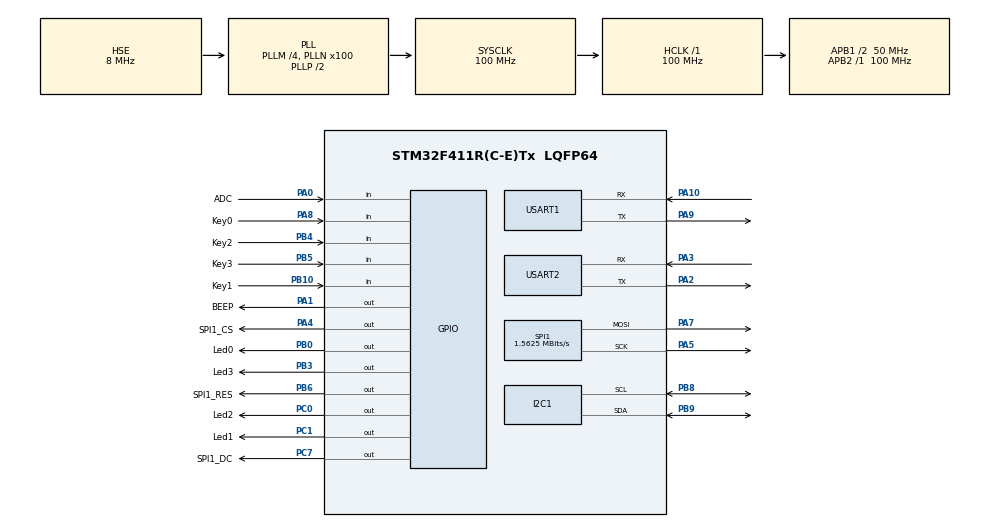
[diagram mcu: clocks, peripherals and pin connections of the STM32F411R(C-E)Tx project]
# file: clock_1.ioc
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FREERTOS.Queues01=KeyQueue,16,KeyMessage_t,0,Dynamic,NULL,NULL
FREERTOS.Tasks01=defaultTask,8,128,StartDefaultTask,Default,NULL,Dynamic,NULL,NULL;OledTask,24,512,StartOledTask,As external,NULL,Dynamic,NULL,NULL;ButtonTask,40,128,StartButtonTask,As external,NULL,Dynamic,NULL,NULL;TempTask,16,128,StartTempTask,As external,NULL,Dynamic,NULL,NULL;LogicTask,32,128,StartLogicTask,As external,NULL,Dynamic,NULL,NULL;WifiTask,24,512,StartWifiTask,As external,NULL,Dynamic,NULL,NULL
FREERTOS.Timers01=BuzzerTimer,BuzzerTimerCallback,osTimerOnce,Default,NULL,Dynamic,NULL
Mcu.Family=STM32F4
Mcu.Name=STM32F411R(C-E)Tx
Mcu.Package=LQFP64
NVIC.PriorityGroup=NVIC_PRIORITYGROUP_4
NVIC.RTC_Alarm_IRQn=true\:5\:0\:false\:false\:true\:true\:true\:true\:true
NVIC.TIM1_TRG_COM_TIM11_IRQn=true\:15\:0\:false\:false\:true\:false\:false\:true\:true
NVIC.TimeBase=TIM1_TRG_COM_TIM11_IRQn
NVIC.TimeBaseIP=TIM11
NVIC.USART1_IRQn=true\:5\:0\:false\:false\:true\:true\:true\:true\:true
PA0-WKUP.GPIO_Label=ADC
PA0-WKUP.Signal=GPIO_Input
PA1.GPIO_Label=BEEP
PA1.Signal=GPIO_Output
PA10.Mode=Asynchronous
PA10.Signal=USART1_RX
PA13.Mode=Serial_Wire
PA13.Signal=SYS_JTMS-SWDIO
PA14.Mode=Serial_Wire
PA14.Signal=SYS_JTCK-SWCLK
PA2.Mode=Asynchronous
PA2.Signal=USART2_TX
PA3.Mode=Asynchronous
PA3.Signal=USART2_RX
PA4.GPIO_Label=SPI1_CS
PA4.Signal=GPIO_Output
PA5.Mode=TX_Only_Simplex_Unidirect_Master
PA5.Signal=SPI1_SCK
PA7.Mode=TX_Only_Simplex_Unidirect_Master
PA7.Signal=SPI1_MOSI
PA8.GPIO_Label=Key0
PA8.Signal=GPIO_Input
PA9.Mode=Asynchronous
PA9.Signal=USART1_TX
PB0.GPIO_Label=Led0
PB0.Signal=GPIO_Output
PB10.GPIO_Label=Key1
PB10.Signal=GPIO_Input
PB3.GPIO_Label=Led3
PB3.Signal=GPIO_Output
PB4.GPIO_Label=Key2
PB4.Signal=GPIO_Input
PB5.GPIO_Label=Key3
PB5.Signal=GPIO_Input
PB6.GPIO_Label=SPI1_RES
PB6.Signal=GPIO_Output
PB8.Mode=I2C
PB8.Signal=I2C1_SCL
PB9.Mode=I2C
PB9.Signal=I2C1_SDA
PC0.GPIO_Label=Led2
PC0.Signal=GPIO_Output
PC1.GPIO_Label=Led1
PC1.Signal=GPIO_Output
PC14-OSC32_IN.Mode=LSE-External-Oscillator
PC14-OSC32_IN.Signal=RCC_OSC32_IN
PC15-OSC32_OUT.Mode=LSE-External-Oscillator
PC15-OSC32_OUT.Signal=RCC_OSC32_OUT
PC7.GPIO_Label=SPI1_DC
PC7.Signal=GPIO_Output
PH0\ -\ OSC_IN.Mode=HSE-External-Clock-Source
PH0\ -\ OSC_IN.Signal=RCC_OSC_IN
PH1\ -\ OSC_OUT.Mode=HSE-External-Clock-Source
PH1\ -\ OSC_OUT.Signal=RCC_OSC_OUT
ProjectManager.HeapSize=0x200
ProjectManager.StackSize=0x400
ProjectManager.TargetToolchain=CMake
RCC.48MHZClocksFreq_Value=50000000
RCC.AHBFreq_Value=100000000
RCC.APB1CLKDivider=RCC_HCLK_DIV2
RCC.APB1Freq_Value=50000000
RCC.APB1TimFreq_Value=100000000
RCC.APB2Freq_Value=100000000
RCC.APB2TimFreq_Value=100000000
RCC.CortexFreq_Value=100000000
RCC.HCLKFreq_Value=100000000
RCC.HSE_VALUE=8000000
RCC.HSI_VALUE=16000000
RCC.PLLM=4
RCC.PLLN=100
RCC.PLLSourceVirtual=RCC_PLLSOURCE_HSE
RCC.RCC_RTC_Clock_Source=RCC_RTCCLKSOURCE_LSE
RCC.RCC_RTC_Clock_SourceVirtual=RCC_RTCCLKSOURCE_LSE
RCC.SYSCLKFreq_VALUE=100000000
RCC.SYSCLKSource=RCC_SYSCLKSOURCE_PLLCLK
RCC.VCOOutputFreq_Value=200000000
RTC.Alarm=RTC_ALARM_A
RTC.Hours_A=8
SPI1.BaudRatePrescaler=SPI_BAUDRATEPRESCALER_64
SPI1.CalculateBaudRate=1.5625 MBits/s
SPI1.Direction=SPI_DIRECTION_2LINES
SPI1.Mode=SPI_MODE_MASTER
SPI1.VirtualType=VM_MASTER
USART1.VirtualMode=VM_ASYNC
USART2.VirtualMode=VM_ASYNC
VP_FREERTOS_VS_CMSIS_V2.Mode=CMSIS_V2
VP_RTC_VS_RTC_Activate.Mode=RTC_Enabled
VP_RTC_VS_RTC_Alarm_A_Intern.Mode=Alarm A
VP_RTC_VS_RTC_Calendar.Mode=RTC_Calendar
VP_SYS_VS_tim11.Mode=TIM11
board=custom

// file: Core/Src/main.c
/* USER CODE BEGIN Header */
/**
  ******************************************************************************
  * @file           : main.c
  * @brief          : Main program body
  ******************************************************************************
  * @attention
  *
  * Copyright (c) 2026 STMicroelectronics.
  * All rights reserved.
  *
  * This software is licensed under terms that can be found in the LICENSE file
  * in the root directory of this software component.
  * If no LICENSE file comes with this software, it is provided AS-IS.
  *
  ******************************************************************************
  */
/* USER CODE END Header */
#include "main.h"
#include "cmsis_os.h"
#include "i2c.h"
#include "rtc.h"
#include "spi.h"
#include "usart.h"
#include "gpio.h"

/* USER CODE BEGIN Includes */
#include <string.h>

#include "timers.h"
#include "WifiTask.h"
/* USER CODE END Includes */

/* USER CODE BEGIN PV */
uint8_t rx_byte;          // 用于接收单个字节的缓存
char rx_buffer[64];       // 用于拼接完整一帧数据的数组
uint8_t rx_index = 0;     // 当前拼接到第几个字符了
/* USER CODE END PV */

void SystemClock_Config(void);
void MX_FREERTOS_Init(void);

int main(void)
{

  /* MCU Configuration--------------------------------------------------------*/

  /* Reset of all peripherals, Initializes the Flash interface and the Systick. */
  HAL_Init();

  /* Configure the system clock */
  SystemClock_Config();

  /* Initialize all configured peripherals */
  MX_GPIO_Init();
  MX_I2C1_Init();
  MX_RTC_Init();
  MX_SPI1_Init();
  MX_USART1_UART_Init();
  MX_USART2_UART_Init();
  /* USER CODE BEGIN 2 */
  // 【关键】在 RTOS 启动前，开启第一次 USART1 接收中断
  HAL_UART_Receive_IT(&huart1, &rx_byte, 1);
  /* USER CODE END 2 */

  /* Init scheduler */
  osKernelInitialize();

  /* Call init function for freertos objects (in cmsis_os2.c) */
  MX_FREERTOS_Init();

  /* Start scheduler */
  osKernelStart();

  /* We should never get here as control is now taken by the scheduler */

  /* Infinite loop */
  while (1)
  {

  }
}

void SystemClock_Config(void)
{
  RCC_OscInitTypeDef RCC_OscInitStruct = {0};
  RCC_ClkInitTypeDef RCC_ClkInitStruct = {0};

  /** Configure the main internal regulator output voltage
  */
  __HAL_RCC_PWR_CLK_ENABLE();
  __HAL_PWR_VOLTAGESCALING_CONFIG(PWR_REGULATOR_VOLTAGE_SCALE1);

  /** Initializes the RCC Oscillators according to the specified parameters
  * in the RCC_OscInitTypeDef structure.
  */
  RCC_OscInitStruct.OscillatorType = RCC_OSCILLATORTYPE_HSE|RCC_OSCILLATORTYPE_LSE;
  RCC_OscInitStruct.HSEState = RCC_HSE_BYPASS;
  RCC_OscInitStruct.LSEState = RCC_LSE_ON;
  RCC_OscInitStruct.PLL.PLLState = RCC_PLL_ON;
  RCC_OscInitStruct.PLL.PLLSource = RCC_PLLSOURCE_HSE;
  RCC_OscInitStruct.PLL.PLLM = 4;
  RCC_OscInitStruct.PLL.PLLN = 100;
  RCC_OscInitStruct.PLL.PLLP = RCC_PLLP_DIV2;
  RCC_OscInitStruct.PLL.PLLQ = 4;
  if (HAL_RCC_OscConfig(&RCC_OscInitStruct) != HAL_OK)
  {
    Error_Handler();
  }

  /** Initializes the CPU, AHB and APB buses clocks
  */
  RCC_ClkInitStruct.ClockType = RCC_CLOCKTYPE_HCLK|RCC_CLOCKTYPE_SYSCLK
                              |RCC_CLOCKTYPE_PCLK1|RCC_CLOCKTYPE_PCLK2;
  RCC_ClkInitStruct.SYSCLKSource = RCC_SYSCLKSOURCE_PLLCLK;
  RCC_ClkInitStruct.AHBCLKDivider = RCC_SYSCLK_DIV1;
  RCC_ClkInitStruct.APB1CLKDivider = RCC_HCLK_DIV2;
  RCC_ClkInitStruct.APB2CLKDivider = RCC_HCLK_DIV1;

  if (HAL_RCC_ClockConfig(&RCC_ClkInitStruct, FLASH_LATENCY_3) != HAL_OK)
  {
    Error_Handler();
  }
}

/* USER CODE BEGIN 4 */

extern osMessageQueueId_t WifiQueueHandle;

/**
  * @brief  串口接收完成回调函数 (USART1)
  */
void HAL_UART_RxCpltCallback(UART_HandleTypeDef *huart) {
  if (huart->Instance == USART1) {
    // 遇到换行符说明一帧结束
    if (rx_byte == '\n') {
      rx_buffer[rx_index] = '\0';
      if (WifiQueueHandle != NULL) {
        // 将字符串数据发送给 WifiTask 任务去解析
        osMessageQueuePut(WifiQueueHandle, rx_buffer, 0, 0);
      }
      rx_index = 0;
    }
    else if (rx_byte != '\r') {
      // 只要不是回车符，就存入缓冲区
      if (rx_index < sizeof(rx_buffer) - 1) {
        rx_buffer[rx_index++] = rx_byte;
      }
    }

    // 再次开启中断接收
    HAL_UART_Receive_IT(&huart1, &rx_byte, 1);
  }
}

/**
  * @brief  串口错误处理 (解决串口卡死问题)
  */
void HAL_UART_ErrorCallback(UART_HandleTypeDef *huart) {
  if (huart->Instance == USART1) {
    __HAL_UART_CLEAR_OREFLAG(huart); // 清除溢出错误
    HAL_UART_Receive_IT(&huart1, &rx_byte, 1); // 重新激活
  }
}

extern osTimerId_t BuzzerTimerHandle;

/* RTC 闹钟 A 中断回调函数 */
void HAL_RTC_AlarmAEventCallback(RTC_HandleTypeDef *hrtc)
{
  // 1. 打开蜂鸣器
  HAL_GPIO_WritePin(BEEP_GPIO_Port, BEEP_Pin, GPIO_PIN_SET);

  // 2. 重新配置定时器时间并启动
  if (BuzzerTimerHandle != NULL) {
    BaseType_t xHigherPriorityTaskWoken = pdFALSE;

    // 【关键修改】使用 ChangePeriod API
    // 参数2：1000U 代表 1000 个节拍 (通常就是 1000ms = 1秒)
    xTimerChangePeriodFromISR((TimerHandle_t)BuzzerTimerHandle,
                              1000U,
                              &xHigherPriorityTaskWoken);

    // 进行上下文切换
    portYIELD_FROM_ISR(xHigherPriorityTaskWoken);
  }
}

/* USER CODE END 4 */

void HAL_TIM_PeriodElapsedCallback(TIM_HandleTypeDef *htim)
{
  if (htim->Instance == TIM11)
  {
    HAL_IncTick();
  }
}

void Error_Handler(void)
{
  __disable_irq();
  while (1)
  {
  }
}

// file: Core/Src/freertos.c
/* USER CODE BEGIN Header */
/**
  ******************************************************************************
  * File Name          : freertos.c
  * Description        : Code for freertos applications
  ******************************************************************************
  * @attention
  *
  * Copyright (c) 2026 STMicroelectronics.
  * All rights reserved.
  *
  * This software is licensed under terms that can be found in the LICENSE file
  * in the root directory of this software component.
  * If no LICENSE file comes with this software, it is provided AS-IS.
  *
  ******************************************************************************
  */
/* USER CODE END Header */

#include "FreeRTOS.h"
#include "task.h"
#include "main.h"
#include "cmsis_os.h"

/* USER CODE BEGIN Includes */
#include "LogicTask.h"
#include "usart.h"
/* USER CODE END Includes */

/* Definitions for defaultTask */
osThreadId_t defaultTaskHandle;
const osThreadAttr_t defaultTask_attributes = {
  .name = "defaultTask",
  .stack_size = 128 * 4,
  .priority = (osPriority_t) osPriorityLow,
};
/* Definitions for OledTask */
osThreadId_t OledTaskHandle;
const osThreadAttr_t OledTask_attributes = {
  .name = "OledTask",
  .stack_size = 512 * 4,
  .priority = (osPriority_t) osPriorityNormal,
};
/* Definitions for ButtonTask */
osThreadId_t ButtonTaskHandle;
const osThreadAttr_t ButtonTask_attributes = {
  .name = "ButtonTask",
  .stack_size = 128 * 4,
  .priority = (osPriority_t) osPriorityHigh,
};
/* Definitions for TempTask */
osThreadId_t TempTaskHandle;
const osThreadAttr_t TempTask_attributes = {
  .name = "TempTask",
  .stack_size = 128 * 4,
  .priority = (osPriority_t) osPriorityBelowNormal,
};
/* Definitions for LogicTask */
osThreadId_t LogicTaskHandle;
const osThreadAttr_t LogicTask_attributes = {
  .name = "LogicTask",
  .stack_size = 128 * 4,
  .priority = (osPriority_t) osPriorityAboveNormal,
};
/* Definitions for WifiTask */
osThreadId_t WifiTaskHandle;
const osThreadAttr_t WifiTask_attributes = {
  .name = "WifiTask",
  .stack_size = 512 * 4,
  .priority = (osPriority_t) osPriorityNormal,
};
/* Definitions for KeyQueue */
osMessageQueueId_t KeyQueueHandle;
const osMessageQueueAttr_t KeyQueue_attributes = {
  .name = "KeyQueue"
};
/* Definitions for BuzzerTimer */
osTimerId_t BuzzerTimerHandle;
const osTimerAttr_t BuzzerTimer_attributes = {
  .name = "BuzzerTimer"
};

void StartDefaultTask(void *argument);
extern void StartOledTask(void *argument);
extern void StartButtonTask(void *argument);
extern void StartTempTask(void *argument);
extern void StartLogicTask(void *argument);
extern void StartWifiTask(void *argument);
void BuzzerTimerCallback(void *argument);

void MX_FREERTOS_Init(void); /* (MISRA C 2004 rule 8.1) */

void MX_FREERTOS_Init(void) {

  /* Create the timer(s) */
  /* creation of BuzzerTimer */
  BuzzerTimerHandle = osTimerNew(BuzzerTimerCallback, osTimerOnce, NULL, &BuzzerTimer_attributes);

  /* Create the queue(s) */
  /* creation of KeyQueue */
  KeyQueueHandle = osMessageQueueNew (16, sizeof(KeyMessage_t), &KeyQueue_attributes);

  /* Create the thread(s) */
  /* creation of defaultTask */
  defaultTaskHandle = osThreadNew(StartDefaultTask, NULL, &defaultTask_attributes);

  /* creation of OledTask */
  OledTaskHandle = osThreadNew(StartOledTask, NULL, &OledTask_attributes);

  /* creation of ButtonTask */
  ButtonTaskHandle = osThreadNew(StartButtonTask, NULL, &ButtonTask_attributes);

  /* creation of TempTask */
  TempTaskHandle = osThreadNew(StartTempTask, NULL, &TempTask_attributes);

  /* creation of LogicTask */
  LogicTaskHandle = osThreadNew(StartLogicTask, NULL, &LogicTask_attributes);

  /* creation of WifiTask */
  WifiTaskHandle = osThreadNew(StartWifiTask, NULL, &WifiTask_attributes);

}

void StartDefaultTask(void *argument)
{
  for(;;)
  {
    osDelay(1);
  }
}

/* BuzzerTimerCallback function */
void BuzzerTimerCallback(void *argument)
{
  /* USER CODE BEGIN BuzzerTimerCallback */

  // 定时器 1 秒时间到，关闭蜂鸣器 (拉低电平)
  HAL_GPIO_WritePin(BEEP_GPIO_Port, BEEP_Pin, GPIO_PIN_RESET);

  /* USER CODE END BuzzerTimerCallback */
}
